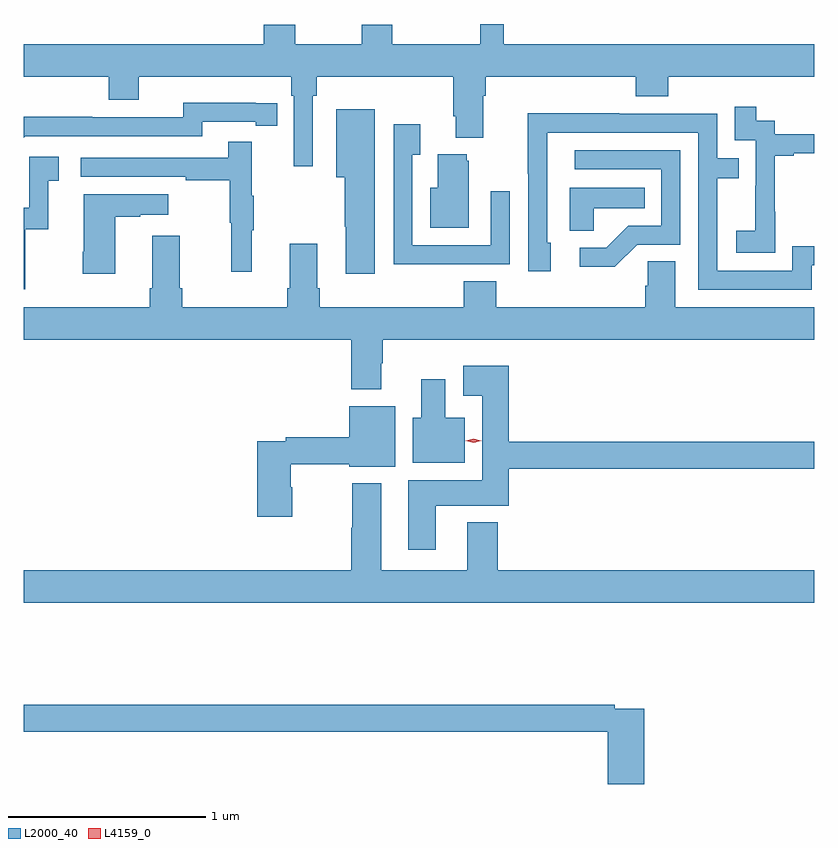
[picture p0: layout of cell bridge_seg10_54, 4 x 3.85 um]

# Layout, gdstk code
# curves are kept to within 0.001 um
import gdstk
lib = gdstk.Library(unit=1e-6, precision=1e-09)
def P(c, l, *ps):  # polygons
    for p in ps: c.add(gdstk.Polygon(p, *l))
L2000_40 = (2000, 40)
L4159_0 = (4159, 0)

bridge_seg10_54 = lib.new_cell('bridge_seg10_54')
P(bridge_seg10_54, L2000_40, [(862.695,1265.588),(862.715,1265.588),(862.715,1265.684),(863.405,1265.684),(863.405,1265.482),(863.417,1265.482),(863.417,1265.375),(863.557,1265.375),(863.557,1265.588),(863.57,1265.588),(863.57,1265.684),(864.329,1265.684),(864.329,1265.585),(864.494,1265.585),(864.494,1265.684),(865.232,1265.684),(865.232,1265.848),(863.662,1265.848),(863.662,1265.95),(863.543,1265.95),(863.543,1265.848),(863.097,1265.848),(863.097,1265.947),(862.942,1265.947),(862.942,1265.848),(862.605,1265.848),(862.605,1265.947),(862.445,1265.947),(862.445,1265.848),(861.232,1265.848),(861.232,1265.684),(861.662,1265.684),(861.662,1265.567),(861.814,1265.567),(861.814,1265.684),(862.586,1265.684),(862.586,1265.588),(862.599,1265.588),(862.599,1265.229),(862.695,1265.229)],
  [(861.24,1265.382),(862.134,1265.382),(862.134,1265.454),(862.406,1265.454),(862.406,1265.434),(862.514,1265.434),(862.514,1265.55),(862.038,1265.551),(862.038,1265.478),(861.578,1265.478),(861.578,1265.48),(861.232,1265.48),(861.232,1265.374)],
  [(865.035,1264.999),(865.034,1264.999),(865.034,1265.283),(865.129,1265.283),(865.129,1265.295),(865.232,1265.295),(865.232,1265.391),(865.032,1265.391),(865.032,1265.46),(864.94,1265.46),(864.94,1265.53),(864.831,1265.53),(864.831,1265.361),(864.936,1265.361),(864.936,1265.132),(864.935,1265.132),(864.935,1264.903),(864.837,1264.903),(864.837,1264.793),(865.035,1264.793)],
  [(863.008,1265.518),(862.814,1265.518),(862.814,1265.174),(862.855,1265.174),(862.855,1264.924),(862.862,1264.924),(862.862,1264.686),(863.008,1264.686)],
  [(865.219,1264.728),(865.232,1264.728),(865.232,1264.824),(865.122,1264.824),(865.122,1264.701),(864.741,1264.701),(864.741,1265.17),(864.851,1265.17),(864.851,1265.271),(864.741,1265.271),(864.741,1265.496),(864.245,1265.496),(864.245,1265.498),(863.782,1265.498),(863.782,1265.191),(863.784,1265.191),(863.784,1264.698),(863.899,1264.698),(863.899,1264.842),(863.88,1264.842),(863.88,1265.4),(864.645,1265.4),(864.645,1264.605),(865.219,1264.605)],
  [(863.375,1264.734),(863.691,1264.734),(863.691,1265.104),(863.595,1265.104),(863.595,1264.83),(863.199,1264.83),(863.199,1265.287),(863.239,1265.287),(863.239,1265.443),(863.103,1265.443),(863.103,1264.733),(863.375,1264.733)],
  [(862.385,1264.907),(862.396,1264.907),(862.396,1265.081),(862.385,1265.081),(862.385,1265.353),(862.267,1265.353),(862.267,1265.274),(861.519,1265.274),(861.519,1265.178),(862.051,1265.178),(862.051,1265.158),(862.275,1265.158),(862.275,1264.944),(862.282,1264.944),(862.282,1264.695),(862.385,1264.695)],
  [(864.336,1264.833),(864.555,1264.833),(864.555,1265.31),(864.021,1265.31),(864.021,1265.214),(864.459,1265.214),(864.459,1264.929),(864.29,1264.929),(864.179,1264.818),(864.045,1264.818),(864.045,1264.721),(864.223,1264.721)],
  [(863.485,1265.259),(863.474,1265.259),(863.474,1265.29),(863.327,1265.29),(863.327,1265.122),(863.288,1265.122),(863.288,1264.919),(863.485,1264.919)],
  [(861.238,1264.911),(861.356,1264.911),(861.356,1265.157),(861.409,1265.157),(861.409,1265.278),(861.258,1265.278),(861.258,1265.019),(861.232,1265.019),(861.232,1264.608),(861.238,1264.608)],
  [(864.117,1265.018),(864.374,1265.018),(864.374,1265.122),(863.996,1265.122),(863.996,1264.903),(864.117,1264.903)],
  [(861.694,1264.975),(861.821,1264.975),(861.821,1264.985),(861.964,1264.985),(861.964,1265.089),(861.536,1265.089),(861.536,1264.798),(861.529,1264.798),(861.529,1264.686),(861.694,1264.686)],
  [(863.041,1264.232),(863.049,1264.232),(863.049,1264.352),(865.232,1264.352),(865.232,1264.516),(864.529,1264.516),(864.529,1264.748),(864.39,1264.748),(864.39,1264.625),(864.377,1264.625),(864.377,1264.516),(863.624,1264.516),(863.624,1264.649),(863.459,1264.649),(863.459,1264.516),(862.73,1264.516),(862.73,1264.612),(862.717,1264.612),(862.717,1264.837),(862.577,1264.837),(862.577,1264.612),(862.565,1264.612),(862.565,1264.516),(862.034,1264.516),(862.034,1264.612),(862.021,1264.612),(862.021,1264.879),(861.881,1264.879),(861.881,1264.612),(861.869,1264.612),(861.869,1264.516),(861.232,1264.516),(861.232,1264.352),(862.889,1264.352),(862.889,1264.1),(863.041,1264.1)],
  [(863.317,1263.512),(863.687,1263.512),(863.687,1263.7),(865.232,1263.7),(865.232,1263.836),(863.687,1263.836),(863.687,1264.219),(863.457,1264.219),(863.457,1264.067),(863.552,1264.067),(863.552,1263.64),(863.177,1263.64),(863.177,1263.288),(863.317,1263.288)],
  [(863.464,1263.958),(863.365,1263.958),(863.365,1264.153),(863.243,1264.153),(863.243,1263.958),(863.201,1263.958),(863.201,1263.728),(863.464,1263.728)],
  [(862.59,1263.606),(862.582,1263.606),(862.582,1263.721),(862.88,1263.721),(862.88,1263.71),(863.113,1263.71),(863.113,1264.015),(862.88,1264.015),(862.88,1263.857),(862.558,1263.857),(862.558,1263.837),(862.412,1263.837),(862.412,1263.456),(862.59,1263.456)],
  [(865.232,1263.184),(863.63,1263.184),(863.63,1263.427),(863.477,1263.427),(863.477,1263.184),(863.041,1263.184),(863.041,1263.625),(862.894,1263.625),(862.894,1263.399),(862.889,1263.399),(862.889,1263.184),(861.232,1263.184),(861.232,1263.02),(865.232,1263.02)],
  [(864.371,1262.484),(864.224,1262.484),(864.224,1262.504),(861.232,1262.504),(861.232,1262.368),(864.188,1262.368),(864.188,1262.103),(864.371,1262.103)])
P(bridge_seg10_54, L4159_0, [(863.508,1263.831),(863.469,1263.841),(863.469,1263.841),(863.469,1263.841),(863.509,1263.851),(863.548,1263.841),(863.548,1263.84),(863.548,1263.84)])

lib.write_gds('bridge_seg10_54.gds')
